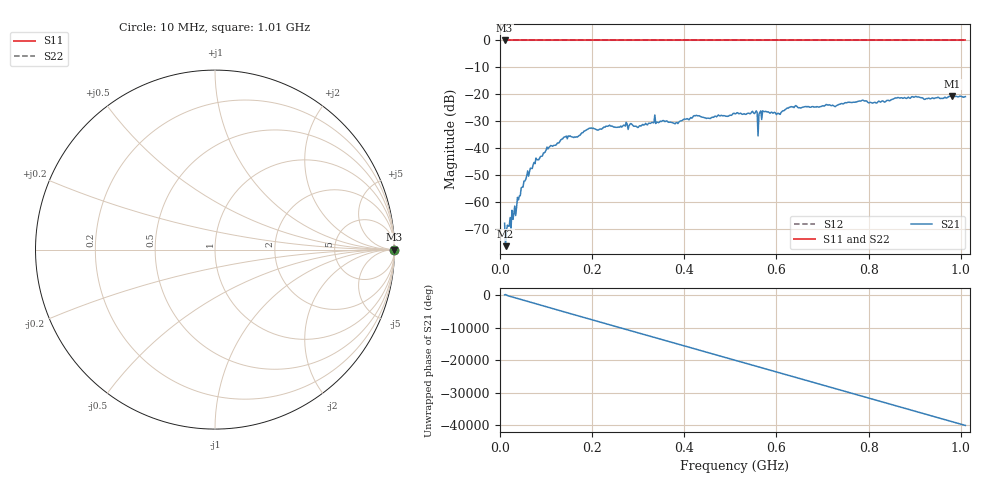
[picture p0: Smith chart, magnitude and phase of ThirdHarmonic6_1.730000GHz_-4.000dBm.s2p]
! 8/16/2025 8:50:06 PM
! C:\ANRITSUVNA\TEMP\TEMP.S2P
! CHANNEL.1
! TR.MEASUREMENT
! RAW.DATA
! RF.CORRECTION.OFF
! AVERAGING.OFF
! IF.BANDWIDTH: 5KHZ
! SWEEPTYPE:  FREQ.SWEEP(Linear)
! Reference Plane Port Info
! PORT:  PORT1  PORT2
! DISTANCE:  0  m  0  m
! TIME:  0  s  0  s
! PHASE.OFFSET:  0  deg.  0  deg.
! LOSS:  0  dB  0  dB
! REF.LOSS:  0  dB  0  dB
! REF.FREQ:  0  Hz  0  Hz
! Power Info
! POWER:  -20  dBm  -20  dBm
! EFF.POWER:  -20  dBm  -20  dBm
! SOURCE.ATTEN:  0  dB  0  dB
! TEST.ATTEN:  0  dB  0  dB
# GHZ S RI R 50.0
! FREQ.GHZ  S11RE  S11IM  S21RE  S21IM  S12RE  S12IM  S22RE  S22IM
!; PortSelection: Port_12
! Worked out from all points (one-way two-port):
!   501 points, 10 MHz to 1.01 GHz, reference 50 ohm
!   highest |S21| = -20.54 dB at 982 MHz (marker M1); lowest = -76.3 dB at 12 MHz (marker M2)
!   lowest |S11| = 0.0 dB at 10 MHz (marker M3)
!   |S11| at or under -10 dB: nowhere
!   |S22| runs from 0.0 to 0.0 dB; largest |S21 - S12| = 1.1
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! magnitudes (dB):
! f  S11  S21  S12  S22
! 10 MHz  0.0  -67.8  0.0  0.0
! 12 MHz  0.0  -76.3  0.0  0.0
! 16 MHz  0.0  -68.5  0.0  0.0
! 56 MHz  0.0  -51.4  0.0  0.0
! 76 MHz  0.0  -45.7  0.0  0.0
! 140 MHz  0.0  -35.8  0.0  0.0
! 178 MHz  0.0  -34.2  0.0  0.0
! 198 MHz  0.0  -32.4  0.0  0.0
! 344 MHz  0.0  -30.5  0.0  0.0
! 382 MHz  0.0  -30.5  0.0  0.0
! 510 MHz  0.0  -27.2  0.0  0.0
! 554 MHz  0.0  -26.7  0.0  0.0
! 556 MHz  0.0  -26.1  0.0  0.0
! 564 MHz  0.0  -26.6  0.0  0.0
! 566 MHz  0.0  -26.1  0.0  0.0
! 574 MHz  0.0  -26.4  0.0  0.0
! 604 MHz  0.0  -27.0  0.0  0.0
! 632 MHz  0.0  -24.5  0.0  0.0
! 678 MHz  0.0  -24.5  0.0  0.0
! 844 MHz  0.0  -22.3  0.0  0.0
! 982 MHz  0.0  -20.5  0.0  0.0
! 1.01 GHz  0.0  -20.8  0.0  0.0
